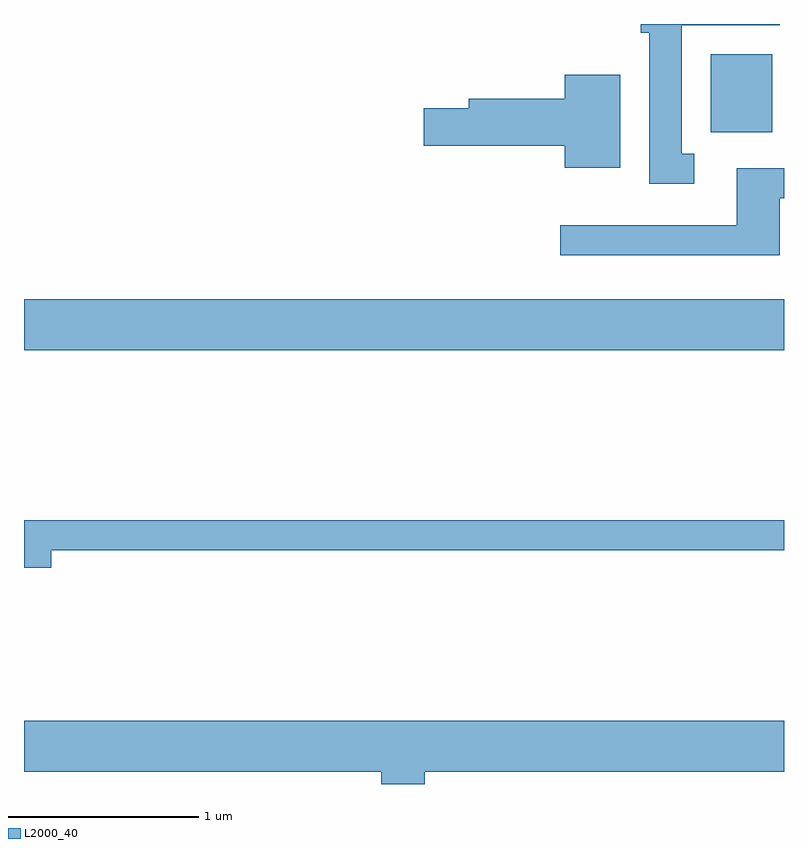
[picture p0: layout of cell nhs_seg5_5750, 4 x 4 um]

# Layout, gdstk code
import gdstk
lib = gdstk.Library(unit=1e-6, precision=1e-09)
def R(c, l, rs):  # rectangles x0, y0, x1, y1
    for r in rs: c.add(gdstk.rectangle(r[:2], r[2:], *l))
def P(c, l, *ps):  # polygons
    for p in ps: c.add(gdstk.Polygon(p, *l))
L2000_40 = (2000, 40)

nhs_seg5_5750 = lib.new_cell('nhs_seg5_5750')
R(nhs_seg5_5750, L2000_40, [(355.611,1452.356,359.611,1452.624), (359.226,1453.501,359.549,1453.914)])
P(nhs_seg5_5750, L2000_40, [(359.138,1453.389),(359.074,1453.389),(359.074,1454.066),(359.589,1454.066),(359.589,1454.072),(358.856,1454.072),(358.856,1454.026),(358.901,1454.026),(358.901,1453.231),(359.138,1453.231)],
  [(358.749,1453.804),(358.456,1453.804),(358.456,1453.679),(357.951,1453.679),(357.951,1453.629),(357.716,1453.629),(357.716,1453.431),(358.456,1453.431),(358.456,1453.316),(358.749,1453.316)],
  [(359.589,1453.156),(359.611,1453.156),(359.611,1453.314),(359.361,1453.314),(359.361,1453.014),(358.433,1453.014),(358.433,1452.856),(359.589,1452.856)],
  [(355.754,1451.301),(359.611,1451.301),(359.611,1451.459),(355.611,1451.459),(355.611,1451.211),(355.754,1451.211)],
  [(357.719,1450.136),(359.611,1450.136),(359.611,1450.404),(355.611,1450.404),(355.611,1450.136),(357.491,1450.136),(357.491,1450.072),(357.719,1450.072)])

lib.write_gds('nhs_seg5_5750.gds')
